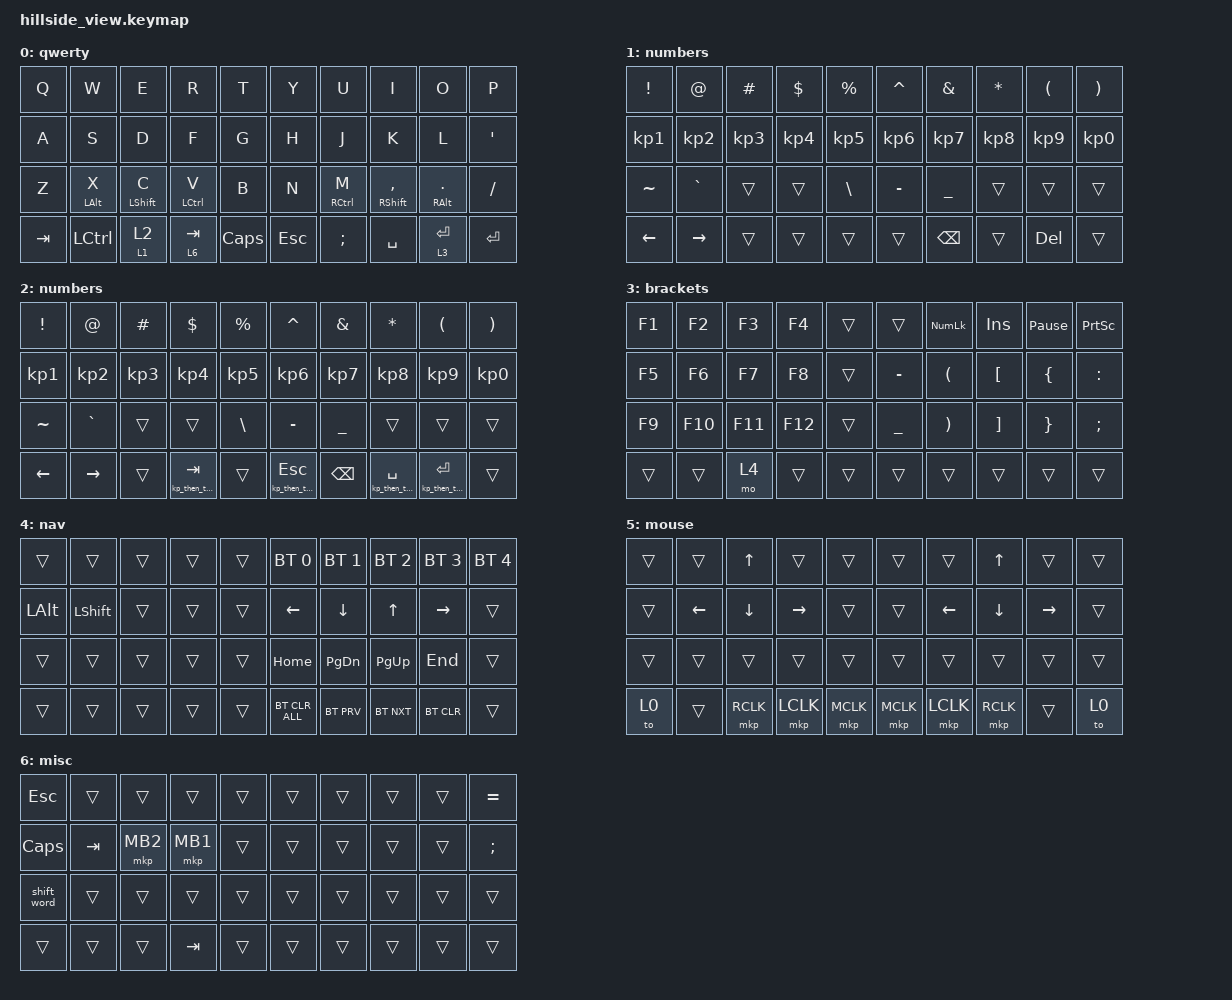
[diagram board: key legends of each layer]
/*
 * Copyright (c) 2020 The ZMK Contributors
 *
 * SPDX-License-Identifier: MIT
 */

#include <behaviors/mouse_keys.dtsi>
#include <dt-bindings/zmk/mouse.h>
#include <behaviors.dtsi>
#include <dt-bindings/zmk/bt.h>
#include <dt-bindings/zmk/keys.h>
#include <dt-bindings/zmk/pointing.h>

#define QWERTY 0
#define NUM 1
#define FBRACKET 2
#define BT_NAV 3
#define WASD 4
#define LEADER 5

/ {
    /* assign `input-listener` to all pointing devices */
    /* &glidepoint0 on central, &glidepoint1 on peripheral */

    tpad_central_listener {
        compatible = "zmk,input-behavior-listener";
        device = <&glidepoint0>;
        y-invert;
        scale-multiplier = <2>;

        // xy-swap;
        // x-invert;
    };

    tpad_peripheral_listener {
        compatible = "zmk,input-behavior-listener";
        device = <&glidepoint1>;
        layers = <QWERTY NUM FBRACKET BT_NAV WASD>;
        y-invert;
        scale-multiplier = <2>;

        /* NOTE: do NOT override event code here, */
        /*       let Cirque glidepoint reports click from taps */
        // evt-type = <INPUT_EV_REL>;
        // x-input-code = <INPUT_REL_X>;
        // y-input-code = <INPUT_REL_Y>;
    };

    tpad_peripheral_scroll {
        compatible = "zmk,input-behavior-listener";
        device = <&glidepoint1>;
        layers = <BT_NAV>;

        /* NOTE: only apply input-code overriding for INPUT_EV_REL */

        evt-type = <INPUT_EV_REL>;
        x-input-code = <INPUT_REL_HWHEEL>;
        y-input-code = <INPUT_REL_WHEEL>;
        bindings = <&ib_wheel_scaler 1 8>;
    };

    ib_wheel_scaler: ib_wheel_scaler {
        compatible = "zmk,input-behavior-scaler";
        #binding-cells = <2>;
        evt-type = <INPUT_EV_REL>;
        input-code = <INPUT_REL_WHEEL>;
    };
};

&caps_word {
};

/ {
    macros {
        bs_word: bs_word {
            compatible = "zmk,behavior-macro";
            #binding-cells = <0>;
            bindings =
                <&macro_press>,
                <&kp LCTRL>,
                <&macro_tap>,
                <&kp BACKSPACE>,
                <&macro_release>,
                <&kp LCTRL>;

            label = "BS_WORD";
        };

        left_word: left_word {
            compatible = "zmk,behavior-macro";
            #binding-cells = <0>;
            bindings =
                <&macro_press>,
                <&kp LCTRL>,
                <&macro_tap>,
                <&kp LEFT_ARROW>,
                <&macro_release>,
                <&kp LCTRL>;

            label = "LEFT_WORD";
        };

        right_word: right_word {
            compatible = "zmk,behavior-macro";
            #binding-cells = <0>;
            bindings =
                <&macro_press>,
                <&kp LCTRL>,
                <&macro_tap>,
                <&kp RIGHT>,
                <&macro_release>,
                <&kp LCTRL>;

            label = "RIGHT_WORD";
        };

        kp_then_to_layer0: key_then_layer_switch {
            compatible = "zmk,behavior-macro-one-param";
            #binding-cells = <1>;
            bindings =
                <&macro_param_1to1 &kp MACRO_PLACEHOLDER>,
                <&macro_tap>,
                <&to 0>;

            label = "KEY_THEN_LAYER_SWITCH";
        };
    };

    behaviors {
        alt_code: alt_code {
            compatible = "zmk,behavior-caps-word";
            label = "ALT_CODE";
            #binding-cells = <0>;
            mods = <(MOD_LALT)>;
            continue-list = <KP_NUMBER_1 KP_NUMBER_2 KP_NUMBER_3 KP_NUMBER_4 KP_NUMBER_5 KP_NUMBER_6 KP_NUMBER_7 KP_NUMBER_8 KP_NUMBER_9 KP_NUMBER_0 NUMBER_1 NUMBER_2 NUMBER_3 NUMBER_4 NUMBER_7 NUMBER_5 NUMBER_6 NUMBER_8 NUMBER_9 NUMBER_0 KP_N1 KP_N2 KP_N3 KP_N4 KP_N5 KP_N6 KP_N7 KP_N8 KP_N9 KP_N0>;
        };

        hrm_ctrl_alt: hrm_ctrl_alt {
            compatible = "zmk,behavior-hold-tap";
            label = "HRM_CTRL_ALT";
            bindings = <&kp>, <&kp>;

            #binding-cells = <2>;
            flavor = "balanced";
            tapping-term-ms = <280>;
            quick-tap-ms = <100>;
            require-prior-idle-ms = <0>;
        };

        shift_word: shift_word {
            compatible = "zmk,behavior-caps-word";
            label = "SHIFT_WORD";
            #binding-cells = <0>;
            continue-list = <KP_NUMBER_1 KP_NUMBER_2 KP_NUMBER_3 KP_NUMBER_4 KP_NUMBER_5 KP_NUMBER_6 KP_NUMBER_7 KP_NUMBER_8 KP_NUMBER_9 KP_NUMBER_0 BACKSPACE UNDERSCORE>;
            mods = <(MOD_LSFT)>;
        };

        lt_layer: lt_layer {
            compatible = "zmk,behavior-hold-tap";
            label = "LT_LAYER";
            bindings = <&mo>, <&kp>;

            #binding-cells = <2>;
            tapping-term-ms = <1000>;
            quick-tap-ms = <250>;
            require-prior-idle-ms = <0>;
            flavor = "tap-unless-interrupted";
        };

        ht: ht {
            compatible = "zmk,behavior-hold-tap";
            label = "HT";
            bindings = <&mo>, <&kp>;

            #binding-cells = <2>;
            flavor = "tap-unless-interrupted";
            tapping-term-ms = <3000>;
        };

        hrm_shift: hrm_shift {
            compatible = "zmk,behavior-hold-tap";
            label = "HRM_SHIFT";
            bindings = <&kp>, <&kp>;

            #binding-cells = <2>;
            flavor = "tap-preferred";
            tapping-term-ms = <280>;
            quick-tap-ms = <100>;
            require-prior-idle-ms = <250>;
        };

        ht_layer: ht_layer {
            compatible = "zmk,behavior-hold-tap";
            label = "HT_LAYER";
            bindings = <&mo>, <&to>;

            #binding-cells = <2>;
            flavor = "tap-unless-interrupted";
            tapping-term-ms = <3000>;
        };
    };

    combos {
        compatible = "zmk,combos";

        df-nav {
            bindings = <&mo 4>;
            key-positions = <13 12>;
        };

        kl-bs-word {
            bindings = <&bs_word>;
            key-positions = <17 18>;
            layers = <0 1 3>;
        };

        rgui {
            bindings = <&kp RIGHT_WIN>;
            key-positions = <35 37>;
        };

        lgui {
            bindings = <&kp LEFT_GUI>;
            key-positions = <34 32>;
        };

        lword {
            bindings = <&left_word>;
            key-positions = <16 15>;
            layers = <4>;
        };

        rword {
            bindings = <&right_word>;
            key-positions = <17 18>;
            layers = <4>;
        };

        combo-shift-r {
            bindings = <&kp RIGHT_SHIFT>;
            key-positions = <27 28>;
        };

        combo-shift-l {
            bindings = <&kp LEFT_SHIFT>;
            key-positions = <22 21>;
        };

        mouse {
            bindings = <&mo 5>;
            key-positions = <5 6>;
            require-prior-idle-ms = <250>;
        };

        underscore {
            bindings = <&kp UNDERSCORE>;
            key-positions = <8 7>;
        };
    };

    keymap {
        compatible = "zmk,keymap";

        qwerty {
            display-name = "qwerty";
            bindings = <
  &kp Q    &kp W                     &kp E                    &kp R                  &kp T     &kp Y       &kp U                  &kp I                         &kp O                           &kp P
  &kp A    &kp S                     &kp D                    &kp F                  &kp G     &kp H       &kp J                  &kp K                         &kp L                           &kp SINGLE_QUOTE
  &kp Z    &hrm_ctrl_alt LEFT_ALT X  &hrm_shift LEFT_SHIFT C  &hrm_ctrl_alt LCTRL V  &kp B     &kp N       &hrm_ctrl_alt RCTRL M  &hrm_shift RIGHT_SHIFT COMMA  &hrm_ctrl_alt RIGHT_ALT PERIOD  &kp FSLH
  &kp TAB  &kp LCTRL                 &ht_layer 1 2            &lt_layer 6 TAB        &kp CAPS  &kp ESCAPE  &kp SEMI               &kp SPACE                     &ht 3 ENTER                     &kp ENTER
            >;
        };

        numbers {
            display-name = "numbers";
            bindings = <
  &kp EXCL         &kp AT           &kp HASH         &kp DLLR         &kp PRCNT        &kp CARET        &kp AMPS         &kp ASTRK        &kp LPAR         &kp RPAR
  &kp KP_NUMBER_1  &kp KP_NUMBER_2  &kp KP_NUMBER_3  &kp KP_NUMBER_4  &kp KP_NUMBER_5  &kp KP_NUMBER_6  &kp KP_NUMBER_7  &kp KP_NUMBER_8  &kp KP_NUMBER_9  &kp KP_NUMBER_0
  &kp TILDE        &kp GRAVE        &trans           &trans           &kp BACKSLASH    &kp MINUS        &kp UNDER        &trans           &trans           &trans
  &kp LEFT         &kp RIGHT        &trans           &trans           &trans           &trans           &kp BACKSPACE    &trans           &kp DELETE       &trans
            >;
        };

        sticky_numbers {
            display-name = "numbers";
            bindings = <
  &kp EXCL         &kp AT           &kp HASH         &kp DLLR                &kp PRCNT        &kp CARET               &kp AMPS         &kp ASTRK                 &kp LPAR                  &kp RPAR
  &kp KP_NUMBER_1  &kp KP_NUMBER_2  &kp KP_NUMBER_3  &kp KP_NUMBER_4         &kp KP_NUMBER_5  &kp KP_NUMBER_6         &kp KP_NUMBER_7  &kp KP_NUMBER_8           &kp KP_NUMBER_9           &kp KP_NUMBER_0
  &kp TILDE        &kp GRAVE        &trans           &trans                  &kp BACKSLASH    &kp MINUS               &kp UNDER        &trans                    &trans                    &trans
  &kp LEFT         &kp RIGHT        &trans           &kp_then_to_layer0 TAB  &trans           &kp_then_to_layer0 ESC  &kp BACKSPACE    &kp_then_to_layer0 SPACE  &kp_then_to_layer0 ENTER  &trans
            >;
        };

        function_bracket {
            display-name = "brackets";
            bindings = <
  &kp F1  &kp F2   &kp F3   &kp F4   &trans  &trans     &kp KP_NUMLOCK         &kp INSERT         &kp PAUSE_BREAK  &kp PRINTSCREEN
  &kp F5  &kp F6   &kp F7   &kp F8   &trans  &kp MINUS  &kp LEFT_PARENTHESIS   &kp LEFT_BRACKET   &kp LEFT_BRACE   &kp COLON
  &kp F9  &kp F10  &kp F11  &kp F12  &trans  &kp UNDER  &kp RIGHT_PARENTHESIS  &kp RIGHT_BRACKET  &kp RIGHT_BRACE  &kp SEMI
  &trans  &trans   &mo 4    &trans   &trans  &trans     &trans                 &trans             &trans           &trans
            >;
        };

        bt_nav {
            display-name = "nav";
            bindings = <
  &trans        &trans     &trans  &trans  &trans  &bt BT_SEL 0    &bt BT_SEL 1  &bt BT_SEL 2  &bt BT_SEL 3  &bt BT_SEL 4
  &kp LEFT_ALT  &kp LSHFT  &trans  &trans  &trans  &kp LEFT        &kp DOWN      &kp UP        &kp RIGHT     &trans
  &trans        &trans     &trans  &trans  &trans  &kp HOME        &kp PG_DN     &kp PG_UP     &kp END       &trans
  &trans        &trans     &trans  &trans  &trans  &bt BT_CLR_ALL  &bt BT_PRV    &bt BT_NXT    &bt BT_CLR    &trans
            >;
        };

        wasd_mouse {
            display-name = "mouse";
            bindings = <
  &trans  &trans          &kp UP_ARROW  &trans     &trans     &trans     &trans          &kp UP_ARROW  &trans     &trans
  &trans  &kp LEFT_ARROW  &kp DOWN      &kp RIGHT  &trans     &trans     &kp LEFT_ARROW  &kp DOWN      &kp RIGHT  &trans
  &trans  &trans          &trans        &trans     &trans     &trans     &trans          &trans        &trans     &trans
  &to 0   &trans          &mkp RCLK     &mkp LCLK  &mkp MCLK  &mkp MCLK  &mkp LCLK       &mkp RCLK     &trans     &to 0
            >;
        };

        misc {
            display-name = "misc";
            bindings = <
  &kp ESC      &trans   &trans    &trans    &trans  &trans  &trans  &trans  &trans  &kp EQUAL
  &kp CAPS     &kp TAB  &mkp MB2  &mkp MB1  &trans  &trans  &trans  &trans  &trans  &kp SEMI
  &shift_word  &trans   &trans    &trans    &trans  &trans  &trans  &trans  &trans  &trans
  &trans       &trans   &trans    &kp TAB   &trans  &trans  &trans  &trans  &trans  &trans
            >;
        };
    };
};
